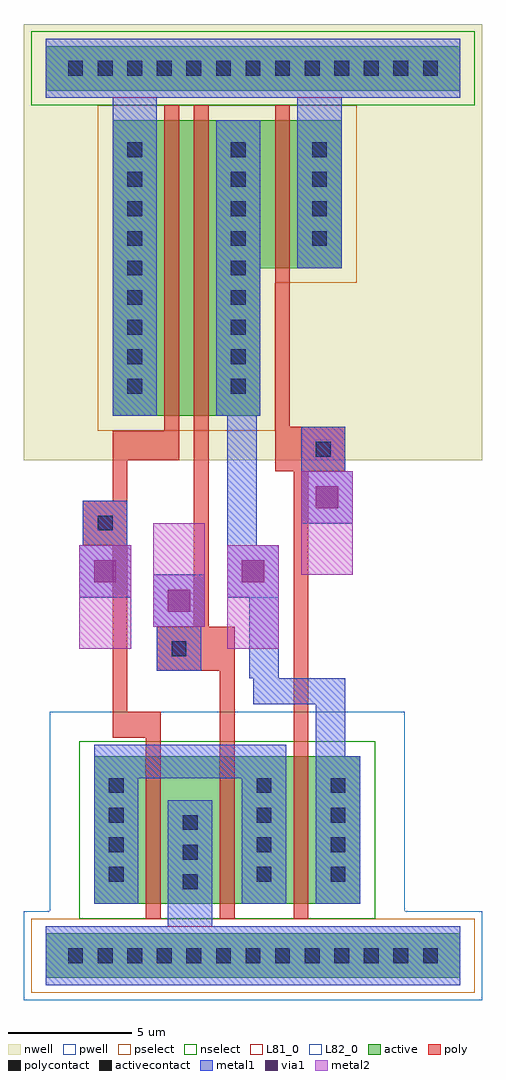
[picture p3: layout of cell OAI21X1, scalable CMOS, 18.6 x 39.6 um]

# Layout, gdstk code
import gdstk
lib = gdstk.Library(unit=1e-6, precision=1e-09)
def R(c, l, rs):  # rectangles x0, y0, x1, y1
    for r in rs: c.add(gdstk.rectangle(r[:2], r[2:], *l))
def A(c, l, x, y, w, h, nx, ny, dx, dy):  # array of equal rectangles
    R(c, l, [(x+i*dx, y+j*dy, x+i*dx+w, y+j*dy+h) for i in range(nx) for j in range(ny)])
pwell = (41, 0)
nwell = (42, 0)
active = (43, 0)
pselect = (44, 0)
nselect = (45, 0)
poly = (46, 0)
polycontact = (47, 0)
activecontact = (48, 0)
metal1 = (49, 0)
via1 = (50, 0)
metal2 = (51, 0)
L81_0 = (81, 0)
L82_0 = (82, 0)

oai21x1 = lib.new_cell('OAI21X1')
R(oai21x1, pwell, [(-1.8,-1.8,16.8,1.8), (-0.75,1.8,13.65,9.9)])
R(oai21x1, nwell, [(-1.8,20.1,16.8,37.8)])
R(oai21x1, active, [(-0.9,-0.9,15.9,0.9), (1.05,2.1,11.85,8.1), (1.8,21.9,7.8,27.9), (1.8,27.9,11.1,33.9), (-0.9,35.1,15.9,36.9)])
R(oai21x1, pselect, [(-1.5,-1.5,16.5,1.5), (1.2,21.3,8.4,27.3), (1.2,27.3,11.7,34.5)])
R(oai21x1, nselect, [(0.45,1.5,12.45,8.7), (-1.5,34.5,16.5,37.5)])
R(oai21x1, poly, [(3.15,1.5,3.75,8.85), (6.15,1.5,6.75,11.55), (9.15,1.5,9.75,19.65), (1.8,8.85,3.75,9.9), (1.8,9.9,2.4,16.65), (3.6,11.55,6.75,13.35), (5.1,13.35,5.7,34.5), (0.6,16.65,2.4,18.45), (1.8,18.45,2.4,20.1), (8.4,19.65,11.25,21.45), (1.8,20.1,4.5,21.3), (3.9,21.3,4.5,34.5), (8.4,21.45,9,34.5)])
R(oai21x1, polycontact, [(4.2,12.15,4.8,12.75), (1.2,17.25,1.8,17.85), (10.05,20.25,10.65,20.85)])
A(oai21x1, activecontact, 0, -0.3, 0.6, 0.6, 13, 2, 1.2, 36)
A(oai21x1, activecontact, 4.65, 2.7, 0.6, 0.6, 1, 3, 0, 1.2)
A(oai21x1, activecontact, 1.65, 3, 0.6, 0.6, 1, 4, 0, 1.2)
A(oai21x1, activecontact, 7.65, 3, 0.6, 0.6, 1, 4, 0, 1.2)
A(oai21x1, activecontact, 10.65, 3, 0.6, 0.6, 1, 4, 0, 1.2)
A(oai21x1, activecontact, 2.4, 22.8, 0.6, 0.6, 1, 9, 0, 1.2)
A(oai21x1, activecontact, 6.6, 22.8, 0.6, 0.6, 1, 9, 0, 1.2)
A(oai21x1, activecontact, 9.9, 28.8, 0.6, 0.6, 1, 4, 0, 1.2)
R(oai21x1, metal1, [(-0.9,-1.2,15.9,1.2), (4.05,1.2,5.85,6.3), (1.05,2.1,2.85,7.2), (7.05,2.1,8.85,7.2), (10.05,2.1,11.85,8.1), (1.05,7.2,8.85,8.55), (10.05,8.1,11.25,10.2), (7.5,10.2,11.25,11.25), (7.35,11.25,8.55,14.55), (3.6,11.55,5.4,13.35), (3.45,13.35,5.55,15.45), (0.45,14.55,2.55,16.65), (6.45,14.55,8.55,16.65), (0.6,16.65,2.4,18.45), (6.45,16.65,7.65,21.9), (9.45,17.55,11.55,19.65), (9.45,19.65,11.25,21.45), (1.8,21.9,3.6,34.8), (6,21.9,7.8,33.9), (9.3,27.9,11.1,34.8), (-0.9,34.8,15.9,37.2)])
R(oai21x1, via1, [(4.05,13.95,4.95,14.85), (1.05,15.15,1.95,16.05), (7.05,15.15,7.95,16.05), (10.05,18.15,10.95,19.05)])
R(oai21x1, metal2, [(0.45,12.45,2.55,16.65), (6.45,12.45,8.55,16.65), (3.45,13.35,5.55,17.55), (9.45,15.45,11.55,19.65)])
R(oai21x1, L81_0, [(-0.9,-1.2,15.9,1.2), (-0.9,34.8,15.9,37.2)])
R(oai21x1, L82_0, [(0.45,12.45,2.55,14.55), (6.45,12.45,8.55,14.55), (3.45,15.45,5.55,17.55), (9.45,15.45,11.55,17.55)])

lib.write_gds('OAI21X1.gds')
